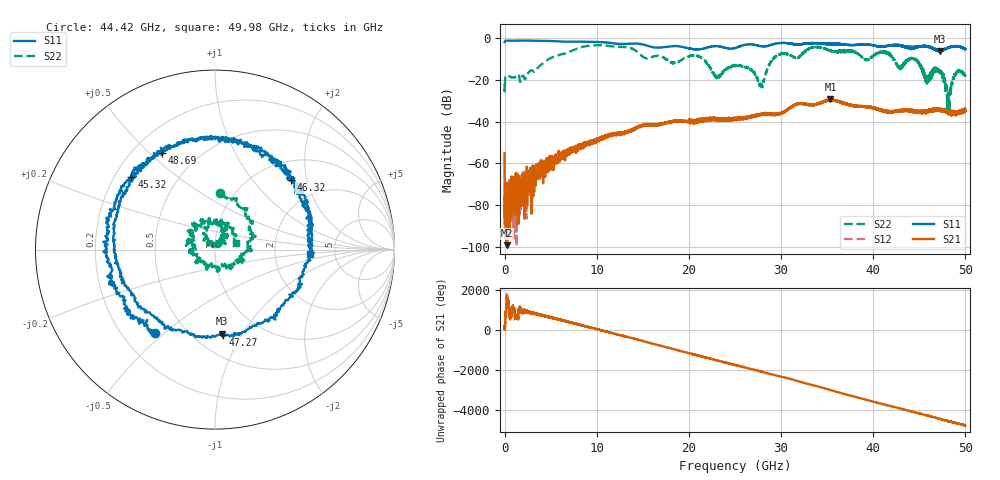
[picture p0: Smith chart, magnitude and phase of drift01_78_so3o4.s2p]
!Created with skrf (http://scikit-rf.org).
# Hz S RI R 50.0
!freq ReS11 ImS11 ReS21 ImS21 ReS12 ImS12 ReS22 ImS22
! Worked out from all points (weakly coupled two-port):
!   10001 points, 300 kHz to 50 GHz, reference 50 ohm
!   highest |S21| = -29.45 dB at 35.36 GHz (marker M1); lowest = -99.0 dB at 240.3 MHz (marker M2)
!   lowest |S11| = -6.6 dB at 47.28 GHz (marker M3), VSWR 2.77, Z = 34 - j40.9 ohm
!   |S11| at or under -10 dB: nowhere
!   |S22| runs from -35.9 to -3.6 dB; largest |S21 - S12| = 0.0034
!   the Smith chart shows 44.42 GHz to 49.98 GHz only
!   S11 on the Smith chart (normalised r, x): 44.42 GHz: 0.34, -0.47; 45.32 GHz: 0.27, +0.35; 46.32 GHz: 1.38, +1.60; 47.27 GHz: 0.67, -0.83; 48.69 GHz: 0.31, +0.55; 49.98 GHz: 3.22, -0.20
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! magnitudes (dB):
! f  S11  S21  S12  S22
! 300 kHz  -2.1  -55.1  -57.0  -22.4
! 240.3 MHz  -1.4  -99.0  -82.5  -18.0
! 8.335 GHz  -1.9  -51.9  -51.8  -4.5
! 16.67 GHz  -4.8  -41.5  -41.4  -8.7
! 20.99 GHz  -5.6  -40.0  -39.9  -8.8
! 23.1 GHz  -4.1  -39.2  -38.8  -18.6
! 25 GHz  -5.0  -38.6  -38.9  -13.4
! 27.86 GHz  -4.2  -36.7  -36.5  -23.0
! 29.42 GHz  -2.9  -36.5  -36.5  -9.1
! 33.34 GHz  -2.6  -32.2  -31.9  -4.8
! 35.36 GHz  -2.7  -29.5  -29.6  -6.2
! 41.67 GHz  -3.8  -35.1  -35.5  -7.8
! 42.89 GHz  -3.7  -34.9  -34.5  -13.9
! 44.42 GHz  -4.8  -35.4  -35.1  -10.0
! 45.32 GHz  -4.2  -34.9  -35.1  -14.9
! 46.32 GHz  -4.8  -34.9  -34.5  -17.9
! 47.27 GHz  -6.4  -34.5  -34.5  -16.0
! 47.28 GHz  -6.6  -35.1  -34.4  -16.2
! 48.2 GHz  -4.7  -35.4  -35.4  -33.4
! 48.69 GHz  -4.2  -35.9  -36.1  -19.1
! 49.98 GHz  -5.5  -35.0  -34.6  -18.1
! 50 GHz  -5.5  -35.1  -35.0  -18.1
